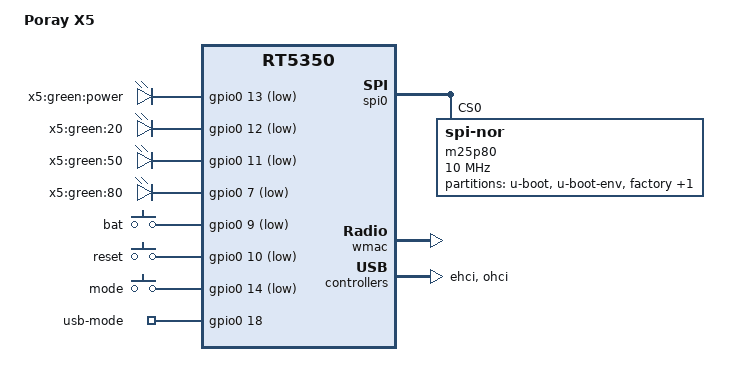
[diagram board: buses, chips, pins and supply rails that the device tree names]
/dts-v1/;

#include "rt5350.dtsi"

/ {
	compatible = "X5", "ralink,rt5350-soc";
	model = "Poray X5";

	gpio-leds {
		compatible = "gpio-leds";

		power {
			label = "x5:green:power";
			gpios = <&gpio0 13 1>;
		};

		20 {
			label = "x5:green:20";
			gpios = <&gpio0 12 1>;
		};

		50 {
			label = "x5:green:50";
			gpios = <&gpio0 11 1>;
		};

		80 {
			label = "x5:green:80";
			gpios = <&gpio0 7 1>;
		};
	};

	gpio-keys-polled {
		compatible = "gpio-keys-polled";
		#address-cells = <1>;
		#size-cells = <0>;
		poll-interval = <20>;

		bat {
			label = "bat";
			gpios = <&gpio0 9 1>;
			linux,code = <0x211>;
		};

		reset {
			label = "reset";
			gpios = <&gpio0 10 1>;
			linux,code = <0x198>;
		};

		mode {
			label = "mode";
			gpios = <&gpio0 14 1>;
			linux,code = <0x100>;
			linux,input-type = <5>;
		};
	};

	gpio_export {
		compatible = "gpio-export";
		#size-cells = <0>;

		usb-mode {
			gpio-export,name = "usb-mode";
			gpio-export,output = <0>;
			gpios = <&gpio0 18 0>;
		};
	};
};

&spi0 {
	status = "okay";

	m25p80@0 {
		#address-cells = <1>;
		#size-cells = <1>;
		compatible = "jedec,spi-nor";
		reg = <0>;
		linux,modalias = "m25p80", "gd25q64";
		spi-max-frequency = <10000000>;

		partition@0 {
			label = "u-boot";
			reg = <0x0 0x30000>;
			read-only;
		};

		partition@30000 {
			label = "u-boot-env";
			reg = <0x30000 0x10000>;
			read-only;
		};

		factory: partition@40000 {
			label = "factory";
			reg = <0x40000 0x10000>;
			read-only;
		};

		partition@50000 {
			label = "firmware";
			reg = <0x50000 0x7b0000>;
		};
	};
};

&pinctrl {
	state_default: pinctrl0 {
		gpio {
			ralink,group = "i2c", "jtag", "uartf";
			ralink,function = "gpio";
		};
	};
};

&ethernet {
	mtd-mac-address = <&factory 0x4>;
};

&esw {
	mediatek,portmap = <0x2f>;
	mediatek,led_polarity = <1>;
};

&wmac {
	ralink,mtd-eeprom = <&factory 0>;
	ralink,led-polarity = <1>;
};

&ehci {
	status = "okay";
};

&ohci {
	status = "okay";
};
